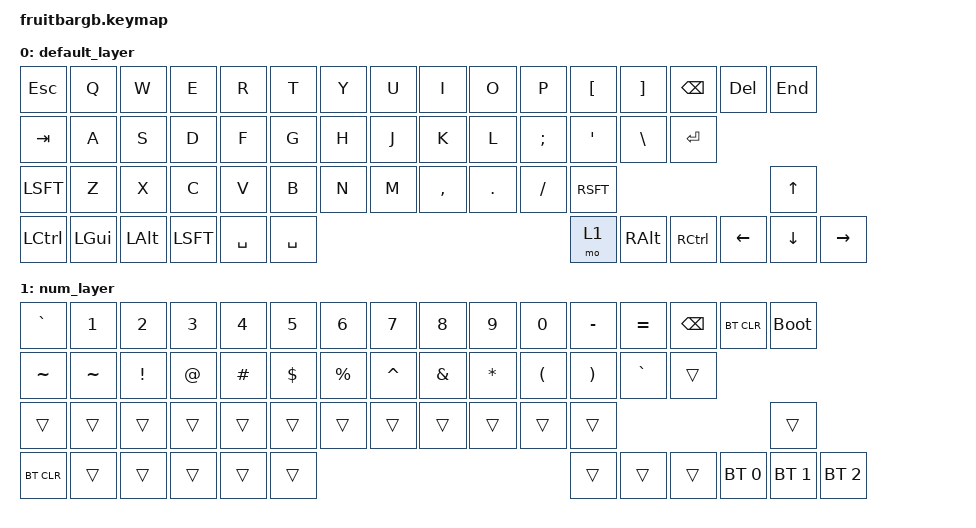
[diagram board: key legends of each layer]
#include <behaviors.dtsi>
#include <dt-bindings/zmk/keys.h>
#include <dt-bindings/zmk/bt.h>

/ {
    macros {
        new_macro: new_macro {
            compatible = "zmk,behavior-macro";
            label = "new_macro";
            #binding-cells = <0>;
            bindings =
                <&macro_press>,
                <&kp RA(E)>;
        };
    };

    keymap {
        compatible = "zmk,keymap";

        default_layer {
            bindings = <
 &kp ESC     &kp Q     &kp W  &kp E     &kp R    &kp T  &kp Y           &kp U      &kp I    &kp O     &kp P  &kp LBKT  &kp RBKT    &kp BSPC     &kp DEL   &kp END
 &kp TAB     &kp A     &kp S  &kp D     &kp F    &kp G  &kp H           &kp J      &kp K    &kp L  &kp SCLN  &kp QUOT  &kp BSLH     &kp RET
&kp LSFT     &kp Z     &kp X  &kp C     &kp V    &kp B  &kp N           &kp M  &kp COMMA  &kp DOT  &kp FSLH  &kp RSFT                                      &kp UP
&kp LCTL  &kp LGUI  &kp LALT         &kp LSFT  &kp SPC         &kp SPC                                &mo 1  &kp RALT  &kp RCTL                &kp LEFT  &kp DOWN  &kp RIGHT
            >;
        };

        num_layer {
            bindings = <
 &kp GRAVE     &kp N1    &kp N2  &kp N3    &kp N4    &kp N5     &kp N6             &kp N7    &kp N8    &kp N9    &kp N0  &kp MINUS  &kp EQUAL    &kp BSPC      &bt BT_CLR   &bootloader
 &kp TILDE  &kp TILDE  &kp EXCL  &kp AT  &kp HASH  &kp DLLR  &kp PRCNT          &kp CARET  &kp AMPS  &kp STAR  &kp LPAR   &kp RPAR  &kp GRAVE      &trans
    &trans     &trans    &trans  &trans    &trans    &trans     &trans             &trans    &trans    &trans    &trans     &trans                                               &trans
&bt BT_CLR     &trans    &trans            &trans    &trans             &trans                                   &trans     &trans     &trans                &bt BT_SEL 0  &bt BT_SEL 1  &bt BT_SEL 2
            >;
        };
    };
};
